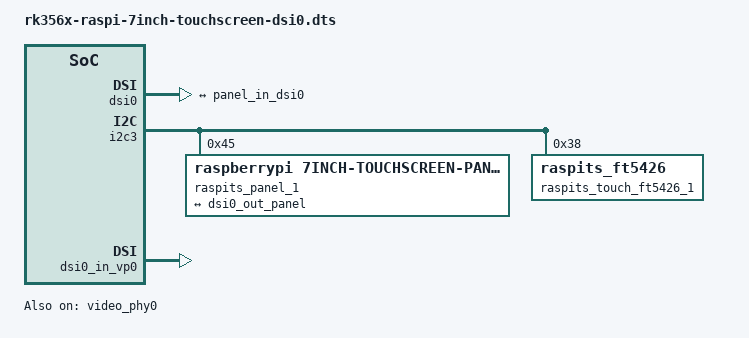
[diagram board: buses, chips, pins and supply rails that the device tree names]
/dts-v1/;
/plugin/;

#include <dt-bindings/display/rockchip_vop.h>

/ {
	fragment@0 {
		target = <&dsi0>;

		__overlay__ {
			status = "okay";

			ports {
				port@1 {
					reg = <1>;

					dsi0_out_panel: endpoint {
						remote-endpoint = <&panel_in_dsi0>;
					};
				};
			};
		};
	};

	fragment@1 {
		target = <&i2c3>;

		__overlay__ {

			status = "okay";

			raspits_panel_1: raspits-panel@45 {
				compatible = "raspberrypi,7inch-touchscreen-panel";
				reg = <0x45>;

				port {
					panel_in_dsi0: endpoint {
						remote-endpoint = <&dsi0_out_panel>;
					};
				};
			};

			raspits_touch_ft5426_1: raspits-touch-ft5426@38 {
				compatible = "raspits_ft5426";
				reg = <0x38>;
			};
		};
	};

	fragment@2 {
		target = <&video_phy0>;

		__overlay__ {
			status = "okay";
		};
	};

	fragment@3 {
		target = <&dsi0_in_vp0>;

		__overlay__ {
			status = "okay";
		};
	};

	fragment@4 {
		target = <&dsi0_in_vp1>;

		__overlay__ {
			status = "disabled";
		};
	};

	fragment@5 {
		target = <&route_dsi0>;

		__overlay__ {
			status = "disabled";
		};
	};

	fragment@6 {
		target = <&hdmi>;
		__overlay__ {
			status = "disabled";
		};
	};

//	fragment@6 {
//		target = <&vp0>;
//		__overlay__ {
//			rockchip,plane-mask = <(1 << ROCKCHIP_VOP2_CLUSTER1 | 1 << ROCKCHIP_VOP2_ESMART1 | 1 <<
//			ROCKCHIP_VOP2_SMART1)>;
//			rockchip,primary-plane = <ROCKCHIP_VOP2_SMART1>;
//			cursor-win-id = <ROCKCHIP_VOP2_CLUSTER1>;
//		};
//	};
//
//	fragment@7 {
//		target = <&vp1>;
//		__overlay__ {
//			rockchip,plane-mask = <(1 << ROCKCHIP_VOP2_CLUSTER0 | 1 << ROCKCHIP_VOP2_ESMART0 | 1 <<
//			ROCKCHIP_VOP2_SMART0)>;
//			rockchip,primary-plane = <ROCKCHIP_VOP2_SMART0>;
//			cursor-win-id = <ROCKCHIP_VOP2_CLUSTER0>;
//		};
//	};
};
